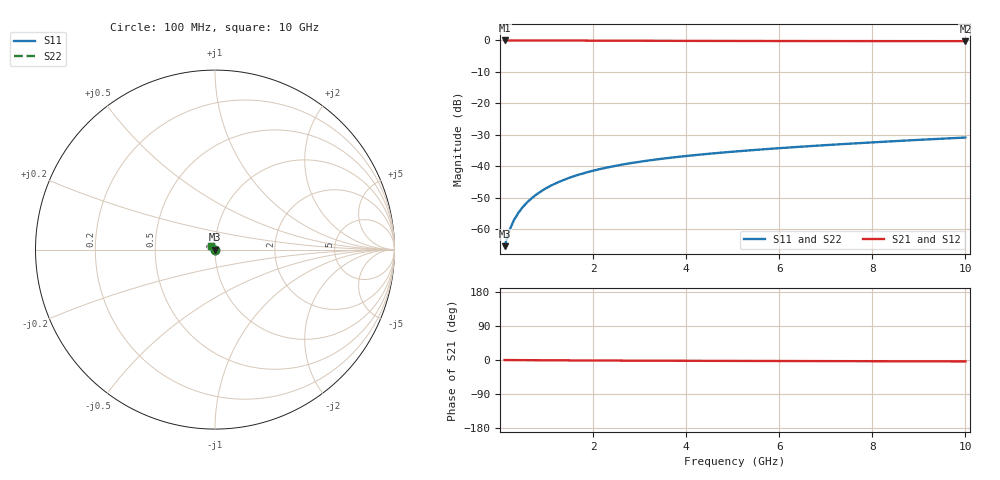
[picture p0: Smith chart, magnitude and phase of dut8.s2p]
! Touchstone file exported from HFSS 2024.1.0
!  File:  C:/UserFiles/LocalFiles/RDL_TSV_Batchsim/temp_TSV1_8_1779367983.aedt
!  Generated:  09:00:39 PM May 21, 2026
!  Design:  TSV1
!  Project:  temp_TSV1_8_1779367983
!  Setup:  Setup1
!  Solution:  Sweep
! Variables:
!  dtsv = 6.12um
!  hbump = 3um
!  htsv = 51.68um
!  lrdl = 252.1521522um
!  p = 40
!  p1 = 51.59um
!  t = 500um
!  trdl = 3um
!  wrdl = 24.89489489um
# GHz S MA R 50.000000
! Terminal data exported
! Port[1] = TSV22_T1
! Port[2] = TSV22_T2
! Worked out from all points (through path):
!   100 points, 100 MHz to 10 GHz, reference 50 ohm
!   highest |S21| = 0.00 dB at 100 MHz (marker M1); lowest = -0.2 dB at 10 GHz (marker M2)
!   lowest |S11| = -65.4 dB at 100 MHz (marker M3), VSWR 1.00, Z = 50 - j0.0467 ohm
!   |S11| at or under -10 dB: start of sweep to end of sweep
!   |S22| runs from -65.4 to -30.8 dB; largest |S21 - S12| = 7.8e-15
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0.1  0.0005401 -59.7  0.9997 -0.1  0.9997 -0.1  0.0005401 -59.7
! Gamma 0 0 0 0
! Port Impedance 50 0 50 0
0.2  0.0009545 -77.4  0.9996 -0.2  0.9996 -0.2  0.0009545 -77.4
0.3  0.001397 -85.8  0.9995 -0.2  0.9995 -0.2  0.001397 -85.7
0.4  0.001848 -91.2  0.9994 -0.3  0.9994 -0.3  0.001848 -91.2
0.5  0.002302 -95.4  0.9992 -0.4  0.9992 -0.4  0.002302 -95.4
0.6  0.002755 -99.0  0.9989 -0.5  0.9989 -0.5  0.002755 -99.0
0.7  0.003205 -102.2  0.9987 -0.5  0.9987 -0.5  0.003205 -102.2
0.8  0.003651 -105.1  0.9984 -0.6  0.9984 -0.6  0.003651 -105.1
0.9  0.004093 -107.9  0.9981 -0.7  0.9981 -0.7  0.004093 -107.9
1.1  0.00496 -113.2  0.9974 -0.8  0.9974 -0.8  0.00496 -113.2
1.4  0.006211 -120.4  0.9961 -1.0  0.9961 -1.0  0.006211 -120.4
1.6  0.00701 -125.0  0.9953 -1.1  0.9953 -1.1  0.00701 -125.0
1.8  0.00778 -129.4  0.9943 -1.2  0.9943 -1.2  0.00778 -129.4
2.1  0.00888 -135.7  0.9929 -1.4  0.9929 -1.4  0.00888 -135.7
2.5  0.01025 -143.4  0.991 -1.6  0.991 -1.6  0.01025 -143.4
2.9  0.01152 -150.6  0.9891 -1.7  0.9891 -1.7  0.01152 -150.6
3.4  0.01298 -158.8  0.9869 -1.9  0.9869 -1.9  0.01298 -158.8
4.2  0.01512 -170.3  0.9839 -2.2  0.9839 -2.2  0.01512 -170.3
5.1  0.01733 178.8  0.9812 -2.4  0.9812 -2.4  0.01733 178.8
6.7  0.02105 163.5  0.9778 -2.9  0.9778 -2.9  0.02105 163.5
8.4  0.02496 151.4  0.9754 -3.3  0.9754 -3.3  0.02496 151.4
10  0.02871 142.7  0.9738 -3.8  0.9738 -3.8  0.02871 142.7
